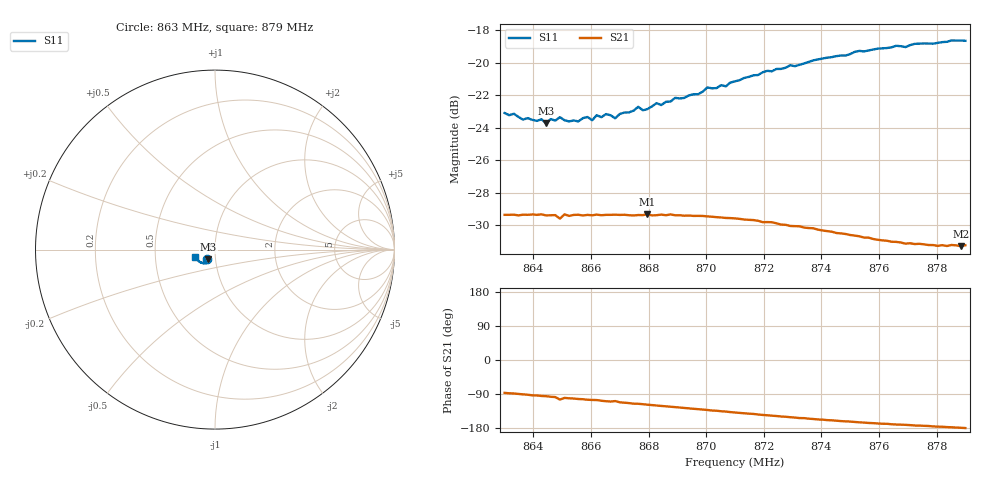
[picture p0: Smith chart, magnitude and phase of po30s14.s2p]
# HZ S RI R 50
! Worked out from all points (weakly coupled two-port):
!   101 points, 863 MHz to 879 MHz, reference 50 ohm
!   highest |S21| = -29.32 dB at 867.96 MHz (marker M1); lowest = -31.3 dB at 878.84 MHz (marker M2)
!   lowest |S11| = -23.7 dB at 864.44 MHz (marker M3), VSWR 1.14, Z = 46.1 - j4.93 ohm
!   |S11| at or under -10 dB: start of sweep to end of sweep
!   S12 and S22 are empty: the file has one direction only
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8.63e8  -0.0449 -0.0539  0.00194 -0.034  0 0  0 0
8.6364e8  -0.0406 -0.0532  -0.000446 -0.0341  0 0  0 0
8.6428e8  -0.0381 -0.0553  -0.00294 -0.0341  0 0  0 0
8.6444e8  -0.0376 -0.0532  -0.00326 -0.0338  0 0  0 0
8.6492e8  -0.0403 -0.0549  -0.0083 -0.0321  0 0  0 0
8.6508e8  -0.0364 -0.0558  -0.00595 -0.0337  0 0  0 0
8.6524e8  -0.038 -0.054  -0.0065 -0.0332  0 0  0 0
8.6572e8  -0.0347 -0.0581  -0.00791 -0.033  0 0  0 0
8.6604e8  -0.0348 -0.0568  -0.00904 -0.0327  0 0  0 0
8.662e8  -0.0362 -0.0588  -0.00924 -0.0329  0 0  0 0
8.6652e8  -0.0362 -0.0595  -0.011 -0.0323  0 0  0 0
8.6684e8  -0.0329 -0.059  -0.0108 -0.0324  0 0  0 0
8.6764e8  -0.0353 -0.0642  -0.0147 -0.0307  0 0  0 0
8.6796e8  -0.0342 -0.0635  -0.016 -0.0302  0 0  0 0
8.6828e8  -0.0361 -0.066  -0.0171 -0.0294  0 0  0 0
8.6844e8  -0.0363 -0.0647  -0.0177 -0.0292  0 0  0 0
8.7004e8  -0.0422 -0.0727  -0.0225 -0.0251  0 0  0 0
8.71e8  -0.048 -0.0735  -0.0249 -0.022  0 0  0 0
8.7372e8  -0.0686 -0.0753  -0.0282 -0.0127  0 0  0 0
8.7644e8  -0.0931 -0.0618  -0.0277 -0.00507  0 0  0 0
8.7884e8  -0.1098 -0.041  -0.0273 -0.000554  0 0  0 0
8.79e8  -0.1103 -0.0392  -0.0275 -0.000199  0 0  0 0
